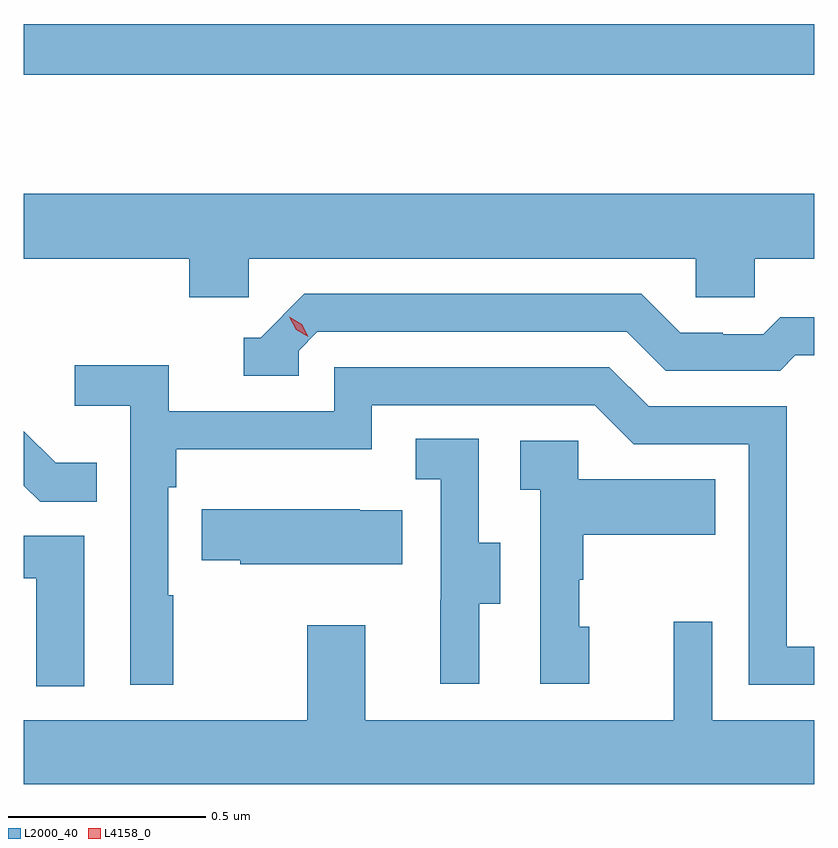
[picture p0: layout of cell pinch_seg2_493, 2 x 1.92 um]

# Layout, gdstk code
import gdstk
lib = gdstk.Library(unit=1e-6, precision=1e-09)
def R(c, l, rs):  # rectangles x0, y0, x1, y1
    for r in rs: c.add(gdstk.rectangle(r[:2], r[2:], *l))
def P(c, l, *ps):  # polygons
    for p in ps: c.add(gdstk.Polygon(p, *l))
L2000_40 = (2000, 40)
L4158_0 = (4158, 0)

pinch_seg2_493 = lib.new_cell('pinch_seg2_493')
R(pinch_seg2_493, L2000_40, [(947.659,597.486,949.659,597.614)])
P(pinch_seg2_493, L2000_40, [(948.228,597.02),(949.359,597.02),(949.359,596.922),(949.509,596.922),(949.509,597.02),(949.659,597.02),(949.659,597.184),(947.659,597.184),(947.659,597.02),(948.077,597.02),(948.077,596.922),(948.228,596.922)],
  [(948.354,596.787),(948.402,596.835),(949.185,596.835),(949.284,596.736),(949.573,596.736),(949.612,596.775),(949.659,596.775),(949.659,596.872),(949.573,596.872),(949.531,596.829),(949.428,596.829),(949.428,596.832),(949.321,596.832),(949.222,596.931),(948.369,596.931),(948.258,596.82),(948.215,596.82),(948.215,596.724),(948.354,596.724)],
  [(948.037,596.168),(948.024,596.168),(948.024,596.441),(948.044,596.441),(948.044,596.537),(948.54,596.537),(948.54,596.649),(949.104,596.649),(949.203,596.55),(949.494,596.55),(949.494,595.941),(949.659,595.941),(949.659,596.037),(949.59,596.037),(949.59,596.646),(949.24,596.646),(949.141,596.745),(948.444,596.745),(948.444,596.634),(948.026,596.634),(948.026,596.75),(947.787,596.75),(947.787,596.648),(947.928,596.648),(947.928,595.941),(948.037,595.941)],
  [(947.843,596.503),(947.739,596.503),(947.659,596.583),(947.659,596.445),(947.7,596.404),(947.843,596.404)],
  [(948.811,596.146),(948.865,596.146),(948.865,596.301),(948.81,596.301),(948.81,596.564),(948.651,596.564),(948.651,596.461),(948.714,596.461),(948.714,596.157),(948.713,596.157),(948.713,595.944),(948.811,595.944)],
  [(949.09,596.088),(949.065,596.088),(949.065,596.207),(949.075,596.207),(949.075,596.321),(949.409,596.321),(949.409,596.461),(949.062,596.461),(949.062,596.559),(948.915,596.559),(948.915,596.435),(948.966,596.435),(948.966,595.944),(949.09,595.944)],
  [(948.617,596.383),(948.509,596.383),(948.509,596.386),(948.109,596.386),(948.109,596.257),(948.207,596.257),(948.207,596.246),(948.617,596.246)],
  [(947.812,596.319),(947.659,596.319),(947.659,596.211),(947.69,596.211),(947.69,595.937),(947.812,595.937)],
  [(949.659,595.852),(949.401,595.852),(949.401,596.101),(949.304,596.101),(949.304,595.852),(948.523,595.852),(948.523,596.092),(948.376,596.092),(948.376,595.852),(947.659,595.852),(947.659,595.69),(949.659,595.69)])
P(pinch_seg2_493, L4158_0, [(948.378,596.822),(948.348,596.84),(948.331,596.873),(948.331,596.873),(948.331,596.873),(948.362,596.854),(948.379,596.822),(948.379,596.822)])

lib.write_gds('pinch_seg2_493.gds')
